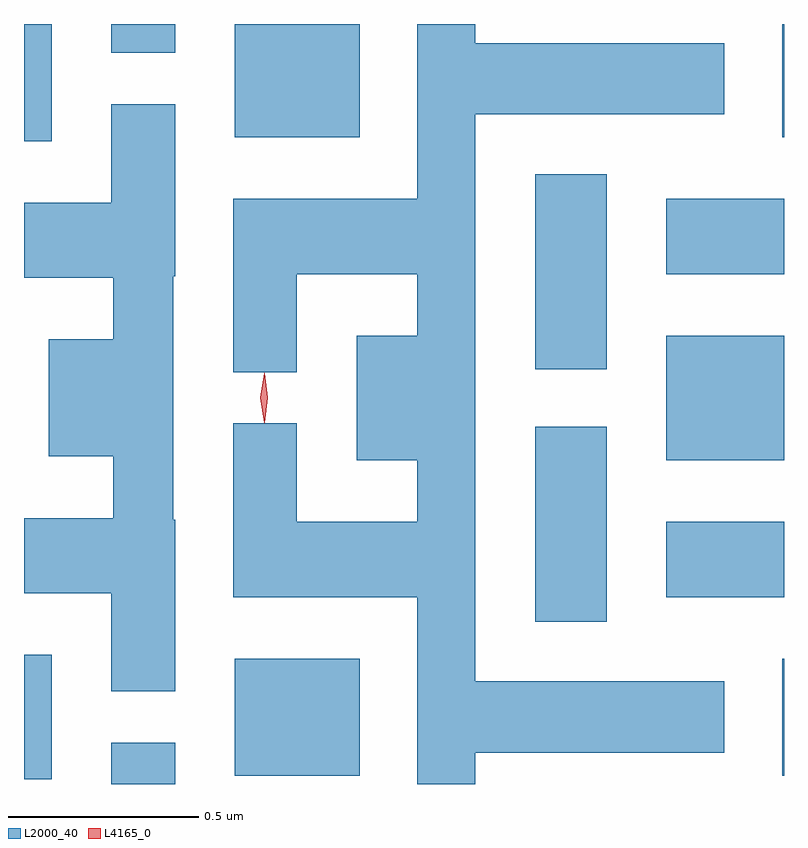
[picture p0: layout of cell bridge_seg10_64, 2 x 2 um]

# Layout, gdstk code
import gdstk
lib = gdstk.Library(unit=1e-6, precision=1e-09)
def R(c, l, rs):  # rectangles x0, y0, x1, y1
    for r in rs: c.add(gdstk.rectangle(r[:2], r[2:], *l))
def P(c, l, *ps):  # polygons
    for p in ps: c.add(gdstk.Polygon(p, *l))
L2000_40 = (2000, 40)
L4165_0 = (4165, 0)

bridge_seg10_64 = lib.new_cell('bridge_seg10_64')
R(bridge_seg10_64, L2000_40, [(1624.601,2156.394,1624.769,2156.503), (1624.371,2156.406,1624.444,2156.734), (1624.926,2156.416,1625.254,2156.724), (1626.366,2156.416,1626.371,2156.724), (1625.716,2156.821,1625.904,2157.334), (1626.061,2156.886,1626.371,2157.084), (1626.061,2157.246,1626.371,2157.574), (1625.716,2157.486,1625.904,2157.999), (1626.061,2157.736,1626.371,2157.934), (1624.371,2158.086,1624.444,2158.394), (1624.926,2158.096,1625.254,2158.394), (1626.366,2158.096,1626.371,2158.394), (1624.601,2158.318,1624.769,2158.394)])
P(bridge_seg10_64, L2000_40, [(1625.559,2156.476),(1626.214,2156.476),(1626.214,2156.664),(1625.559,2156.664),(1625.559,2158.156),(1626.214,2158.156),(1626.214,2158.344),(1625.559,2158.344),(1625.559,2158.394),(1625.406,2158.394),(1625.406,2157.934),(1624.921,2157.934),(1624.921,2157.478),(1625.089,2157.478),(1625.089,2157.736),(1625.406,2157.736),(1625.406,2157.574),(1625.246,2157.574),(1625.246,2157.246),(1625.406,2157.246),(1625.406,2157.084),(1625.089,2157.084),(1625.089,2157.343),(1624.921,2157.343),(1624.921,2156.886),(1625.406,2156.886),(1625.406,2156.394),(1625.559,2156.394)],
  [(1624.769,2157.09),(1624.764,2157.09),(1624.764,2157.73),(1624.769,2157.73),(1624.769,2158.183),(1624.601,2158.183),(1624.601,2157.924),(1624.371,2157.924),(1624.371,2157.726),(1624.606,2157.726),(1624.606,2157.564),(1624.436,2157.564),(1624.436,2157.256),(1624.606,2157.256),(1624.606,2157.094),(1624.371,2157.094),(1624.371,2156.896),(1624.601,2156.896),(1624.601,2156.638),(1624.769,2156.638)])
P(bridge_seg10_64, L4165_0, [(1625.003,2157.344),(1625.003,2157.345),(1624.993,2157.41),(1625.003,2157.475),(1625.003,2157.476),(1625.004,2157.475),(1625.013,2157.41),(1625.004,2157.345)])

lib.write_gds('bridge_seg10_64.gds')
